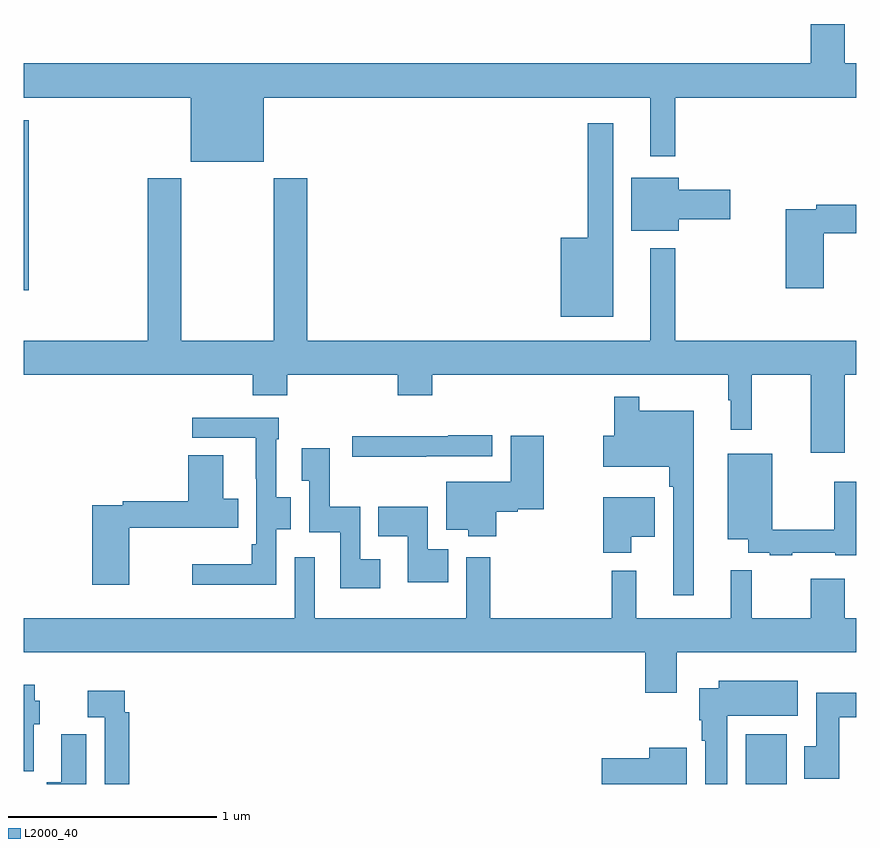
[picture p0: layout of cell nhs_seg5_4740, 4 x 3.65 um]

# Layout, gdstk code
import gdstk
lib = gdstk.Library(unit=1e-6, precision=1e-09)
def R(c, l, rs):  # rectangles x0, y0, x1, y1
    for r in rs: c.add(gdstk.rectangle(r[:2], r[2:], *l))
def P(c, l, *ps):  # polygons
    for p in ps: c.add(gdstk.Polygon(p, *l))
L2000_40 = (2000, 40)

nhs_seg5_4740 = lib.new_cell('nhs_seg5_4740')
R(nhs_seg5_4740, L2000_40, [(392.468,850.799,392.665,851.038), (389,853.17,389.024,853.987)])
P(nhs_seg5_4740, L2000_40, [(390.154,854.096),(392.009,854.096),(392.009,853.815),(392.131,853.815),(392.131,854.096),(393,854.096),(393,854.26),(392.944,854.26),(392.944,854.449),(392.78,854.449),(392.78,854.26),(389,854.26),(389,854.096),(389.804,854.096),(389.804,853.787),(390.154,853.787)],
  [(391.831,853.972),(391.71,853.972),(391.71,853.423),(391.58,853.423),(391.58,853.043),(391.831,853.043)],
  [(392.146,853.511),(392.395,853.511),(392.395,853.653),(392.146,853.653),(392.146,853.711),(391.919,853.711),(391.919,853.457),(392.146,853.457)],
  [(392.944,852.764),(393,852.764),(393,852.928),(392.131,852.928),(392.131,853.372),(392.009,853.372),(392.009,852.928),(390.362,852.928),(390.362,853.708),(390.202,853.708),(390.202,852.928),(389.757,852.928),(389.757,853.708),(389.597,853.708),(389.597,852.928),(389,852.928),(389,852.764),(390.101,852.764),(390.101,852.665),(390.266,852.665),(390.266,852.764),(390.797,852.764),(390.797,852.665),(390.962,852.665),(390.962,852.764),(392.385,852.764),(392.385,852.641),(392.396,852.641),(392.396,852.501),(392.498,852.501),(392.498,852.764),(392.78,852.764),(392.78,852.39),(392.944,852.39)],
  [(392.843,853.444),(393,853.444),(393,853.58),(392.806,853.58),(392.806,853.56),(392.66,853.56),(392.66,853.179),(392.843,853.179)],
  [(392.218,852.592),(391.957,852.592),(391.957,852.658),(391.836,852.658),(391.836,852.471),(391.784,852.471),(391.784,852.323),(392.101,852.323),(392.101,852.227),(392.121,852.227),(392.121,851.706),(392.218,851.706)],
  [(390.213,852.022),(390.283,852.022),(390.283,852.177),(390.213,852.177),(390.213,852.455),(390.226,852.455),(390.226,852.558),(389.811,852.558),(389.811,852.462),(390.116,852.462),(390.116,852.265),(390.117,852.265),(390.117,851.95),(390.097,851.95),(390.097,851.854),(389.811,851.854),(389.811,851.756),(390.213,851.756)],
  [(390.935,852.372),(391.252,852.372),(391.252,852.473),(391.039,852.473),(391.039,852.47),(390.579,852.47),(390.579,852.37),(390.935,852.37)],
  [(391.271,852.107),(391.374,852.107),(391.374,852.119),(391.498,852.119),(391.498,852.472),(391.34,852.472),(391.34,852.25),(391.031,852.25),(391.031,852.02),(391.136,852.02),(391.136,851.99),(391.271,851.99)],
  [(390.712,851.878),(390.618,851.878),(390.618,852.13),(390.471,852.13),(390.471,852.412),(390.335,852.412),(390.335,852.256),(390.372,852.256),(390.372,852.008),(390.522,852.008),(390.522,851.738),(390.712,851.738)],
  [(393,852.25),(392.894,852.25),(392.894,852.019),(392.596,852.019),(392.596,852.385),(392.381,852.385),(392.381,851.975),(392.48,851.975),(392.48,851.91),(392.584,851.91),(392.584,851.898),(392.692,851.898),(392.692,851.91),(392.898,851.91),(392.898,851.897),(393,851.897)],
  [(389.508,852.03),(389.708,852.03),(389.708,852.029),(390.032,852.029),(390.032,852.169),(389.959,852.169),(389.959,852.377),(389.792,852.377),(389.792,852.158),(389.476,852.158),(389.476,852.138),(389.33,852.138),(389.33,851.757),(389.508,851.757)],
  [(391.918,851.987),(392.032,851.987),(392.032,852.175),(391.784,852.175),(391.784,851.909),(391.918,851.909)],
  [(391.04,851.926),(390.942,851.926),(390.942,852.13),(390.703,852.13),(390.703,851.99),(390.845,851.99),(390.845,851.768),(391.04,851.768)],
  [(392.78,851.785),(392.78,851.596),(392.498,851.596),(392.498,851.825),(392.396,851.825),(392.396,851.596),(391.943,851.596),(391.943,851.824),(391.825,851.824),(391.825,851.596),(391.241,851.596),(391.241,851.887),(391.125,851.887),(391.125,851.596),(390.399,851.596),(390.399,851.887),(390.303,851.887),(390.303,851.596),(389,851.596),(389,851.432),(391.985,851.432),(391.985,851.238),(392.137,851.238),(392.137,851.432),(393,851.432),(393,851.596),(392.944,851.596),(392.944,851.785)],
  [(392.38,851.126),(392.719,851.126),(392.719,851.296),(392.339,851.296),(392.339,851.26),(392.246,851.26),(392.246,851.106),(392.258,851.106),(392.258,851.006),(392.273,851.006),(392.273,850.799),(392.38,850.799)],
  [(389.05,851.085),(389.077,851.085),(389.077,851.199),(389.053,851.199),(389.053,851.275),(389,851.275),(389,850.86),(389.05,850.86)],
  [(389.507,851.144),(389.487,851.144),(389.487,851.248),(389.308,851.248),(389.308,851.12),(389.391,851.12),(389.391,850.799),(389.507,850.799)],
  [(392.917,851.12),(393,851.12),(393,851.238),(392.807,851.238),(392.807,850.98),(392.75,850.98),(392.75,850.824),(392.917,850.824)],
  [(389.302,851.039),(389.18,851.039),(389.18,850.807),(389.112,850.807),(389.112,850.799),(389.302,850.799)],
  [(392.185,850.972),(392.006,850.972),(392.006,850.922),(391.776,850.922),(391.776,850.799),(392.185,850.799)])

lib.write_gds('nhs_seg5_4740.gds')
